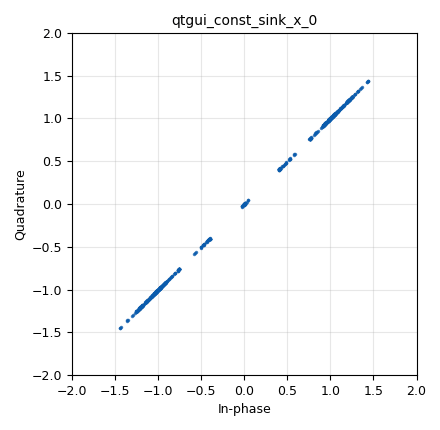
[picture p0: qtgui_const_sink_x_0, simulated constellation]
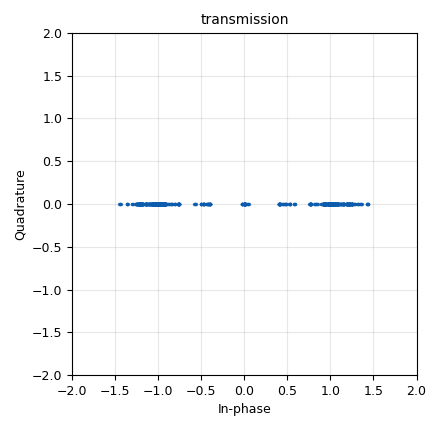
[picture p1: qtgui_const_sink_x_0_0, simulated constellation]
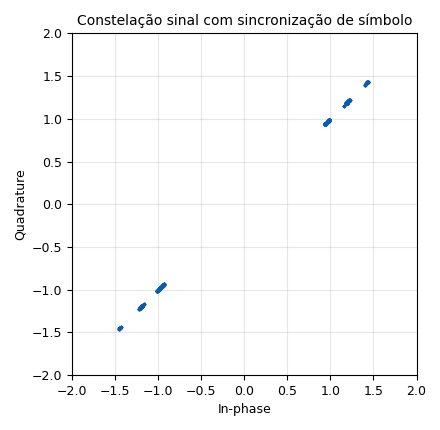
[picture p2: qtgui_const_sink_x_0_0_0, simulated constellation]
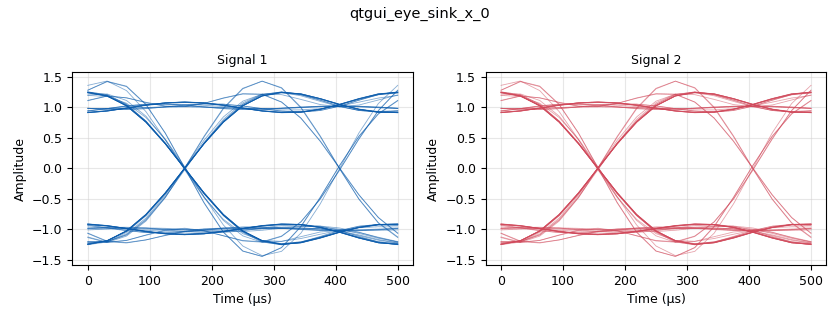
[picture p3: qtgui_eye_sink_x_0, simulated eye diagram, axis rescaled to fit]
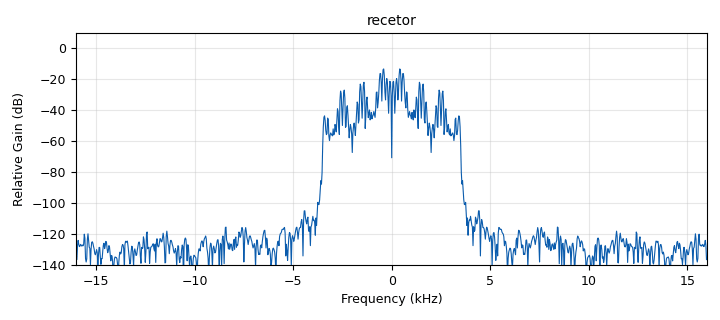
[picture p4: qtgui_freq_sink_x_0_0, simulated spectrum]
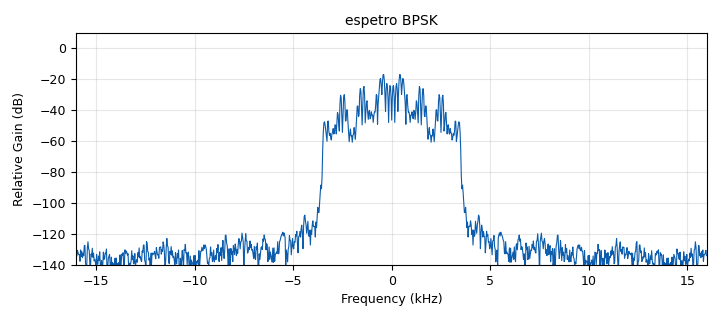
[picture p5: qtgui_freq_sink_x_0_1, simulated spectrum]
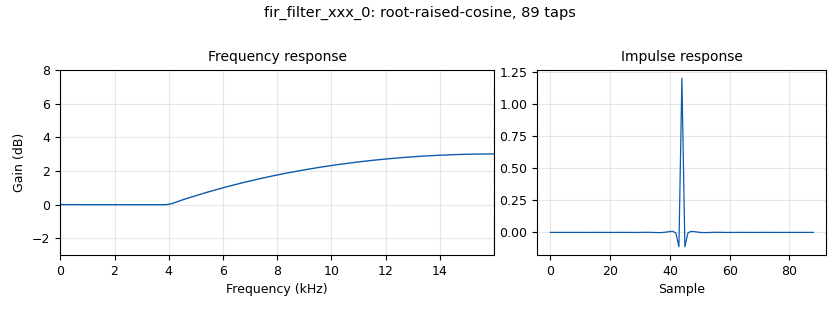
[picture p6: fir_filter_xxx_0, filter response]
options:
  parameters:
    generate_options: qt_gui
    id: BPSK_noise
    output_language: python
    title: Not titled yet
  states: {}

blocks:
- name: BPSK
  id: variable_constellation
  parameters:
    const_points: '[-1 , 1]'
    dims: '1'
    normalization: digital.constellation.NO_NORMALIZATION
    precision: '8'
    rot_sym: '2'
    sym_map: '[0, 1,]'
    type: calcdist
  states: {}
- name: rolloff
  id: variable
  parameters:
    value: '0.75'
  states: {}
- name: rrc_taps
  id: variable
  parameters:
    value: firdes.root_raised_cosine(1.0,samp_rate,samp_rate,rolloff,11*sps)
  states: {}
- name: samp_rate
  id: variable
  parameters:
    value: '32000'
  states: {}
- name: sps
  id: variable
  parameters:
    value: '8'
  states: {}
- name: analog_const_source_x_0
  id: analog_const_source_x
  parameters:
    const: '2'
    type: complex
  states: {}
- name: blocks_complex_to_real_0
  id: blocks_complex_to_real
  parameters: {}
  states: {}
- name: blocks_file_sink_0
  id: blocks_file_sink
  parameters:
    file: bpsk_vector_output.dat
    type: byte
    unbuffered: 'True'
  states: {}
- name: blocks_file_sink_0_0
  id: blocks_file_sink
  parameters:
    file: bpsk_vector_output_receptor.dat
    type: byte
    unbuffered: 'True'
  states: {}
- name: blocks_pack_k_bits_bb_0
  id: blocks_pack_k_bits_bb
  parameters:
    k: '8'
  states: {}
- name: blocks_throttle_0
  id: blocks_throttle
  parameters:
    samples_per_second: samp_rate
    type: complex
  states: {}
- name: blocks_transcendental_0
  id: blocks_transcendental
  parameters:
    name: sqrt
    type: complex_float
  states: {}
- name: blocks_vector_source_x_0
  id: blocks_vector_source_x
  parameters:
    repeat: 'True'
    type: byte
    vector: '[240,240,240,15,15,15,240,240,240] + [9, 99, 61, 9, 99, 68, 10, 0, 29] + [15,15,15,240,240,240,15,15,15]'
  states: {}
- name: channels_channel_model_0
  id: channels_channel_model
  parameters:
    epsilon: '1.0'
    freq_offset: '0.0'
    noise_voltage: '0'
    seed: '0'
    taps: 1.0 +1j
  states: {}
- name: digital_binary_slicer_fb_0
  id: digital_binary_slicer_fb
  parameters: {}
  states: {}
- name: digital_constellation_modulator_0
  id: digital_constellation_modulator
  parameters:
    constellation: BPSK
    differential: 'False'
    excess_bw: rolloff
    samples_per_symbol: sps
    verbose: 'True'
  states: {}
- name: digital_symbol_sync_xx_0
  id: digital_symbol_sync_xx
  parameters:
    damping: '1.0'
    loop_bw: '0.06'
    max_dev: '1.5'
    osps: '1'
    resamp_type: digital.IR_MMSE_8TAP
    sps: sps
    ted_gain: '1'
    ted_type: digital.TED_SIGNAL_TIMES_SLOPE_ML
    type: cc
  states: {}
- name: fir_filter_xxx_0
  id: fir_filter_xxx
  parameters:
    decim: '1'
    taps: rrc_taps
    type: ccc
  states: {}
- name: qtgui_const_sink_x_0
  id: qtgui_const_sink_x
  parameters:
    size: '1024'
    type: complex
  states: {}
- name: qtgui_const_sink_x_0_0
  id: qtgui_const_sink_x
  parameters:
    name: '"transmission"'
    size: '1024'
    type: complex
  states: {}
- name: qtgui_const_sink_x_0_0_0
  id: qtgui_const_sink_x
  parameters:
    name: '"Constelação sinal com sincronização de símbolo"'
    size: '1024'
    type: complex
  states: {}
- name: qtgui_eye_sink_x_0
  id: qtgui_eye_sink_x
  parameters:
    samp_per_symbol: sps
    size: '1024'
    srate: samp_rate
    type: complex
    yunit: '"reception"'
  states: {}
- name: qtgui_freq_sink_x_0_0
  id: qtgui_freq_sink_x
  parameters:
    bw: samp_rate
    fc: '0'
    fftsize: '1024'
    name: '"recetor"'
    type: complex
  states: {}
- name: qtgui_freq_sink_x_0_1
  id: qtgui_freq_sink_x
  parameters:
    bw: samp_rate
    fc: '0'
    fftsize: '1024'
    name: espetro BPSK
    type: complex
  states: {}
- name: qtgui_time_sink_x_0
  id: qtgui_time_sink_x
  parameters:
    autoscale: 'True'
    entags: 'False'
    name: '"Sinal transmitido (BB) -> 16 amostras"'
    nconnections: '2'
    size: '1024'
    srate: samp_rate
    type: complex
  states: {}
- name: qtgui_time_sink_x_1
  id: qtgui_time_sink_x
  parameters:
    autoscale: 'True'
    grid: 'True'
    label1: real
    label2: imaginária
    name: '""Sinal na PreDemod""'
    size: '1024'
    srate: samp_rate
    type: complex
  states: {}
- name: qtgui_time_sink_x_1_0
  id: qtgui_time_sink_x
  parameters:
    autoscale: 'True'
    grid: 'True'
    name: '"Sinal detetado (BB) final"'
    size: '1024'
    srate: samp_rate
    type: float
  states: {}
- name: virtual_sink_0
  id: virtual_sink
  parameters:
    stream_id: BPSK_mod
  states: {}
- name: virtual_sink_1
  id: virtual_sink
  parameters:
    stream_id: Added Noise output
  states: {}
- name: virtual_sink_2
  id: virtual_sink
  parameters:
    stream_id: Signal after FIR filter
  states: {}
- name: virtual_source_0
  id: virtual_source
  parameters:
    stream_id: BPSK_mod
  states: {}
- name: virtual_source_1
  id: virtual_source
  parameters:
    stream_id: Added Noise output
  states: {}
- name: virtual_source_2
  id: virtual_source
  parameters:
    stream_id: Signal after FIR filter
  states: {}

connections:
- [analog_const_source_x_0, '0', blocks_transcendental_0, '0']
- [blocks_complex_to_real_0, '0', qtgui_time_sink_x_1_0, '0']
- [blocks_complex_to_real_0, '0', virtual_sink_1, '0']
- [blocks_pack_k_bits_bb_0, '0', blocks_file_sink_0_0, '0']
- [blocks_throttle_0, '0', qtgui_time_sink_x_0, '0']
- [blocks_throttle_0, '0', virtual_sink_0, '0']
- [blocks_transcendental_0, '0', qtgui_time_sink_x_0, '1']
- [blocks_vector_source_x_0, '0', blocks_file_sink_0, '0']
- [blocks_vector_source_x_0, '0', digital_constellation_modulator_0, '0']
- [channels_channel_model_0, '0', fir_filter_xxx_0, '0']
- [digital_binary_slicer_fb_0, '0', blocks_pack_k_bits_bb_0, '0']
- [digital_constellation_modulator_0, '0', blocks_throttle_0, '0']
- [digital_constellation_modulator_0, '0', qtgui_const_sink_x_0_0, '0']
- [digital_constellation_modulator_0, '0', qtgui_freq_sink_x_0_1, '0']
- [digital_symbol_sync_xx_0, '0', blocks_complex_to_real_0, '0']
- [digital_symbol_sync_xx_0, '0', qtgui_const_sink_x_0_0_0, '0']
- [fir_filter_xxx_0, '0', digital_symbol_sync_xx_0, '0']
- [fir_filter_xxx_0, '0', qtgui_eye_sink_x_0, '0']
- [fir_filter_xxx_0, '0', virtual_sink_2, '0']
- [virtual_source_0, '0', channels_channel_model_0, '0']
- [virtual_source_1, '0', digital_binary_slicer_fb_0, '0']
- [virtual_source_2, '0', qtgui_const_sink_x_0, '0']
- [virtual_source_2, '0', qtgui_freq_sink_x_0_0, '0']
- [virtual_source_2, '0', qtgui_time_sink_x_1, '0']

metadata:
  file_format: 1
  grc_version: 3.10.4.0
